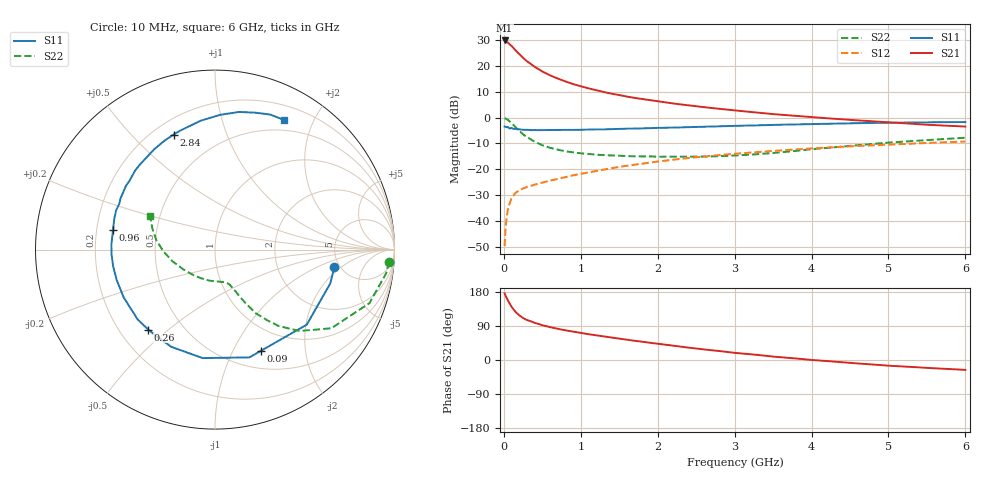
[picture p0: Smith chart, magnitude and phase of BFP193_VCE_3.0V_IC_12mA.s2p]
! Infineon Technologies  Discrete & RF Semiconductors
! BFP193
! VCE = 3.0 V,  IC =  12 mA
! Common Emitter S-Parameters:  Jan 2016
# GHz  S  MA  R  50
!  f  S11  S21  S12  S22
! GHz  MAG  ANG  MAG  ANG  MAG  ANG  MAG  ANG
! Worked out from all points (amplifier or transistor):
!   210 points, 10 MHz to 6 GHz, reference 50 ohm
!   highest |S21| = 29.7 dB at 10 MHz (marker M1)
!   |S21| within 3 dB of that: start of sweep to 126.9 MHz
!   unconditionally stable (mu >= 1): 925.2 MHz to 3.737 GHz
!   at 185 MHz: K = 0.36, MSG = 26.7 dB, |S12| = -28.4 dB
!   at 1.52 GHz: K = 1.08, MAG = 12.0 dB, |S12| = -19.0 dB
!   at 6 GHz: K = 0.91, MSG = 2.9 dB, |S12| = -9.2 dB
!   S11 on the Smith chart (normalised r, x): 10 MHz: 4.49, -1.63; 90 MHz: 0.71, -1.29; 260 MHz: 0.32, -0.43; 960 MHz: 0.27, +0.09; 2.84 GHz: 0.28, +0.67; 6 GHz: 0.37, +1.60
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0.01  0.6723 -8.5  30.7 175.9  0.0033 88.3  0.9725 -4.0
0.02  0.6693 -16.4  29.84 170.2  0.0065 83.5  0.9625 -7.9
0.05  0.6605 -39.3  28.21 157.6  0.016 72.7  0.9109 -19.1
0.09  0.6193 -65.6  24.79 144.0  0.0253 62.5  0.8032 -30.7
0.1  0.6304 -72.3  24.18 140.1  0.0277 61.0  0.7823 -34.1
0.15  0.6084 -96.5  19.91 126.8  0.035 52.5  0.6537 -43.9
0.2  0.594 -114.2  16.76 117.8  0.0395 48.2  0.5545 -50.2
0.24  0.5817 -125.1  14.64 112.2  0.0422 45.8  0.4901 -53.5
0.26  0.5804 -129.9  13.74 109.7  0.0435 45.2  0.4633 -54.9
0.3  0.5807 -137.8  12.21 105.5  0.0458 44.9  0.42 -57.4
0.4  0.5743 -152.2  9.52 98.0  0.0507 44.3  0.3414 -60.4
0.5  0.5732 -162.6  7.73 91.8  0.0556 45.3  0.2924 -62.3
0.7  0.577 -177.3  5.65 82.2  0.0654 47.7  0.2393 -64.9
0.96  0.5788 168.9  4.168 72.8  0.0799 50.0  0.2075 -68.0
1.02  0.5817 166.1  3.933 70.8  0.0831 50.4  0.2029 -69.0
1.4  0.5985 151.6  2.885 59.3  0.1052 50.8  0.1858 -76.7
2.02  0.632 131.5  2.031 42.5  0.1428 47.8  0.1755 -94.0
2.84  0.6815 109.8  1.456 22.7  0.1908 41.0  0.1807 -123.7
3.1  0.6954 104.2  1.329 17.2  0.2051 38.4  0.1886 -133.5
4.1  0.756 86.1  0.993 -1.3  0.2584 28.3  0.2518 -167.2
5.1  0.7981 72.4  0.794 -16.1  0.3054 17.7  0.3354 169.5
6  0.818 62.1  0.67 -26.1  0.345 8.0  0.4078 152.6
